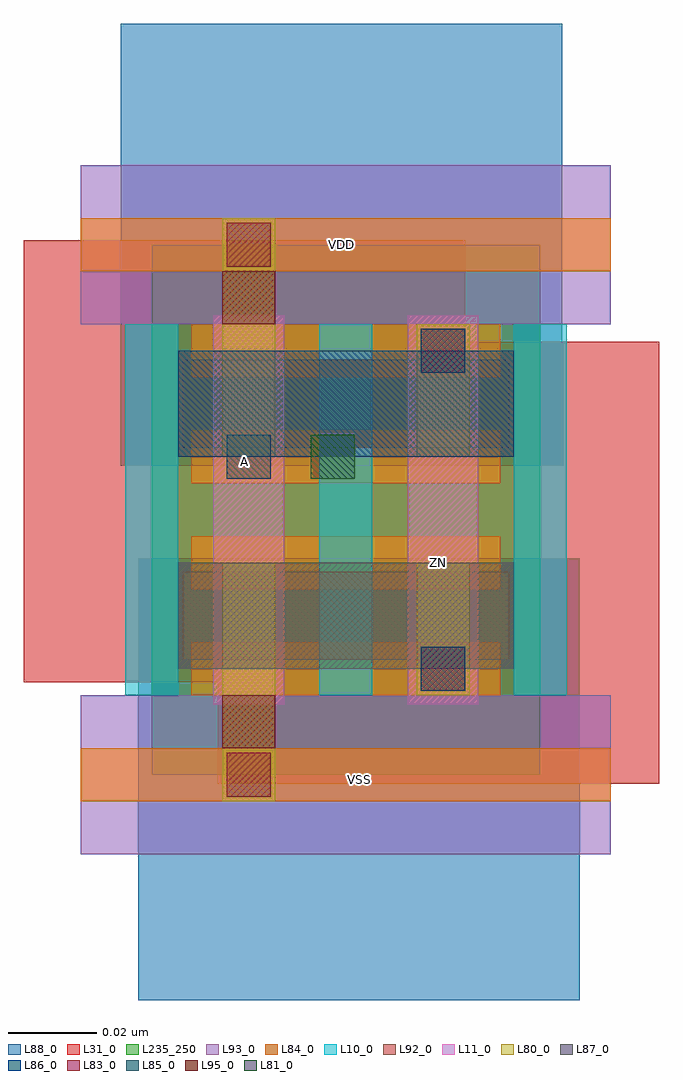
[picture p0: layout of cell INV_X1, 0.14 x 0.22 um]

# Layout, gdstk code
import gdstk
lib = gdstk.Library(unit=1e-6, precision=1e-09)
def R(c, l, rs):  # rectangles x0, y0, x1, y1
    for r in rs: c.add(gdstk.rectangle(r[:2], r[2:], *l))
def A(c, l, x, y, w, h, nx, ny, dx, dy):  # array of equal rectangles
    R(c, l, [(x+i*dx, y+j*dy, x+i*dx+w, y+j*dy+h) for i in range(nx) for j in range(ny)])
L10_0 = (10, 0)
L11_0 = (11, 0)
L31_0 = (31, 0)
L80_0 = (80, 0)
L81_0 = (81, 0)
L83_0 = (83, 0)
L84_0 = (84, 0)
L85_0 = (85, 0)
L86_0 = (86, 0)
L87_0 = (87, 0)
L88_0 = (88, 0)
L92_0 = (92, 0)
L93_0 = (93, 0)
L95_0 = (95, 0)
L235_250 = (235, 250)

inv_x1 = lib.new_cell('INV_X1')
A(inv_x1, L10_0, -0.006, 0.018, 0.012, 0.084, 3, 1, 0.044, 0)
R(inv_x1, L11_0, [(0.014,0.016,0.03,0.104), (0.058,0.016,0.074,0.104)])
R(inv_x1, L31_0, [(0.015,-0.002,0.115,0.098), (-0.029,0.021,0.071,0.121)])
R(inv_x1, L80_0, [(0.016,-0.006,0.028,0.048), (0.06,0.018,0.072,0.048), (0.016,0.072,0.028,0.126), (0.06,0.072,0.072,0.102)])
R(inv_x1, L81_0, [(0.036,0.067,0.046,0.077)])
R(inv_x1, L83_0, [(0.017,-0.005,0.027,0.005), (0.061,0.019,0.071,0.029), (0.061,0.091,0.071,0.101), (0.017,0.115,0.027,0.125)])
A(inv_x1, L84_0, 0.009, 0.018, 0.07, 0.012, 1, 4, 0, 0.024)
R(inv_x1, L84_0, [(-0.016,-0.006,0.104,0.006), (-0.016,0.114,0.104,0.126)])
R(inv_x1, L85_0, [(0.061,0.019,0.071,0.029), (0.017,0.067,0.027,0.077), (0.061,0.091,0.071,0.101)])
R(inv_x1, L86_0, [(0.006,0.072,0.082,0.096)])
R(inv_x1, L87_0, [(0.006,0.024,0.082,0.048)])
R(inv_x1, L88_0, [(-0.003,-0.051,0.097,0.049), (-0.007,0.07,0.093,0.17)])
R(inv_x1, L92_0, [(0.007,0.026,0.081,0.046), (0.007,0.074,0.081,0.094)])
R(inv_x1, L93_0, [(-0.016,-0.018,0.104,0.018), (-0.016,0.102,0.104,0.138)])
R(inv_x1, L95_0, [(0.016,0.006,0.028,0.018), (0.016,0.102,0.028,0.114)])
R(inv_x1, L235_250, [(0,0,0.088,0.12)])
inv_x1.add(gdstk.Label('VSS', (0.047,-0.001), layer=88, texttype=0))
inv_x1.add(gdstk.Label('VDD', (0.043,0.12), layer=88, texttype=0))
inv_x1.add(gdstk.Label('ZN', (0.065,0.048), layer=31, texttype=0))
inv_x1.add(gdstk.Label('A', (0.021,0.071), layer=31, texttype=0))

lib.write_gds('INV_X1.gds')
